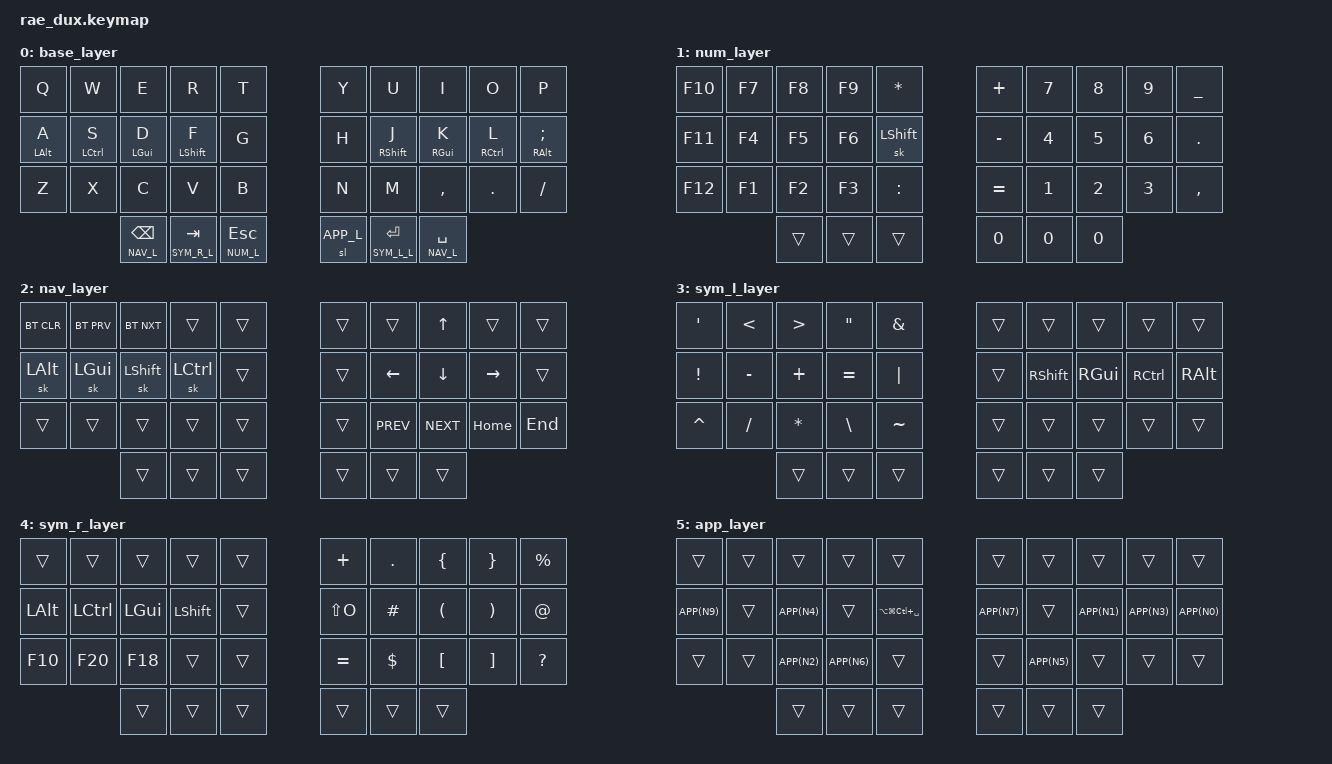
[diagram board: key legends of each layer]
/*
 * Copyright (c) 2021 The ZMK Contributors
 *
 * SPDX-License-Identifier: MIT
 */

#include <behaviors.dtsi>
#include <dt-bindings/zmk/bt.h>
#include <dt-bindings/zmk/keys.h>

&sk {
    quick-release;
};

&caps_word {
    continue-list = <UNDERSCORE MINUS BSPC SEMI>;
};

#define BASE_L  0
#define NUM_L   1
#define NAV_L   2
#define SYM_L_L 3
#define SYM_R_L 4
#define APP_L   5

/ {
    macros {
    };

    behaviors {
        
        lhm: left_hand_positional_hold_tap {
            compatible = "zmk,behavior-hold-tap";
            label = "LEFT_POSITIONAL_HOLD_TAP";
            #binding-cells = <2>;
            flavor = "tap-preferred";
            tapping-term-ms = <200>;
            quick-tap-ms = <50>;
            require-prior-idle-ms = <20>;
            bindings = <&kp>, <&kp>;
            hold-trigger-on-release;
            hold-while-undecided;
            
            // The right half:
            hold-trigger-key-positions = <
                5   6  7  8  9 
                15 16 17 18 19 
                25 26 27 28 29 

                30 31 32 
                33 34 35
            >;
        };

        rhm: right_hand_positional_hold_tap {
            compatible = "zmk,behavior-hold-tap";
            label = "RIGHT_POSITIONAL_HOLD_TAP";
            #binding-cells = <2>;
            flavor = "tap-preferred";
            tapping-term-ms = <200>;
            quick-tap-ms = <50>;
            require-prior-idle-ms = <20>;
            bindings = <&kp>, <&kp>;
            hold-trigger-on-release;
            hold-while-undecided;
            
            // The left half:
            hold-trigger-key-positions = <
                 0  1  2  3  4 
                10 11 12 13 14 
                20 21 22 23 24 
                
                      30 31 32
                      33 34 35
            >;
        };

        base_lt: base_layer_hold_tap {
            compatible = "zmk,behavior-hold-tap";
            label = "BASE_LAYER_HOLD_TAP";
            #binding-cells = <2>;
            flavor = "tap-preferred";
            tapping-term-ms = <200>;
            quick-tap-ms = <200>;
            bindings = <&mo>, <&kp>;
        };

        rpt_lt: repeat_hold_tap {
            compatible = "zmk,behavior-hold-tap";
            label = "REPEAT_HOLD_TAP";
            #binding-cells = <2>;
            flavor = "tap-preferred";
            tapping-term-ms = <200>;
            quick-tap-ms = <200>;
            bindings = <&mo>, <&key_repeat>;
        };
    };

    combos {
        compatible = "zmk,combos";

        #define COMBO(NAME, BINDINGS, KEYPOS, TIMEOUT) \
              combo_##NAME { \
                timeout-ms = <TIMEOUT>; \
                layers = <BASE_L NUM_L SYM_L_L SYM_R_L>; \
                bindings = <BINDINGS>; \
                key-positions = <KEYPOS>; \
              };

        /*                KEY POSITIONS

          ╭────────────────────╮ ╭────────────────────╮
          │  0   1   2   3   4 │ │  5   6   7   8   9 │
          │ 10  11  12  13  14 │ │ 15  16  17  18  19 │
          │ 20  21  22  23  24 │ │ 25  26  27  28  29 │
          ╰───────╮ 30  31  32 │ │ 33  34  35 ╭───────╯
                  ╰────────────╯ ╰────────────╯        */

        COMBO(caps_word_left, &caps_word, 13 14, 60)
        COMBO(caps_word_right, &caps_word, 15 16, 60)

        COMBO(grave, &kp GRAVE, 1 2, 60)
        COMBO(pipe, &kp PIPE, 3 4, 60)

        COMBO(amp, &kp AMPS, 5 6, 60)

        COMBO(lpar, &kp LPAR, 21 22, 60)
        COMBO(rpar, &kp RPAR, 27 28, 60)

        COMBO(dash, &kp MINUS, 22 23, 60)
        COMBO(under, &kp UNDERSCORE, 26 27, 60)

        COMBO(excl, &kp EXCL, 23 24, 60)
        COMBO(equal, &kp EQUAL, 25 26, 60)        
    };

    #define APP(n) LS(LA(LG(LC(n))))
    #define APP_ED APP(N1)
    #define APP_WEB APP(N2)
    #define APP_TERM APP(N3)
    #define APP_SLACK APP(N4)
    #define APP_MAIL APP(N5)
    #define APP_VC APP(N6)
    #define APP_IRC APP(N7)
    #define APP_MSG APP(N8)
    #define APP_CAL APP(N9)
    #define APP_NOTES APP(N0)
    #define APP_DASH LA(LG(LC(SPACE)))

	keymap {
		compatible = "zmk,keymap";

		base_layer {
			bindings =  <
            /**/ &kp Q       &kp W        &kp E               &kp R                 &kp T              /* &*/ &kp Y         &kp U                 &kp I                 &kp O        &kp P
            /**/ &lhm LALT A &lhm LCTRL S &lhm LGUI D         &lhm LSHFT F          &kp G              /* &*/ &kp H         &rhm RSHFT J          &rhm RGUI K           &rhm RCTRL L &rhm RALT SEMI
            /**/ &kp Z       &kp X        &kp C               &kp V                 &kp B              /* &*/ &kp N         &kp M                 &kp COMMA             &kp DOT      &kp FSLH
            /*   &           &*/          &base_lt NAV_L BKSP &base_lt SYM_R_L TAB  &base_lt NUM_L ESC /* &*/ &sl APP_L     &base_lt SYM_L_L RET  &base_lt NAV_L SPC /* &            &*/
			>;
		};

		num_layer {
			bindings = <
            /**/ &kp F10     &kp F7       &kp F8              &kp F9                &kp STAR           /* & */ &kp PLUS     &kp N7                &kp N8                &kp N9       &kp UNDER
            /**/ &kp F11     &kp F4       &kp F5              &kp F6                &sk LSHFT          /* & */ &kp MINUS    &kp N4                &kp N5                &kp N6       &kp DOT 
            /**/ &kp F12     &kp F1       &kp F2              &kp F3                &kp COLON          /* & */ &kp EQUAL    &kp N1                &kp N2                &kp N3       &kp COMMA
			/*   &           &*/          &trans              &trans                &trans             /* & */ &kp N0       &kp N0                &kp N0             /* &            &*/
			>;
		};

		nav_layer {
			bindings = <
            /**/ &bt BT_CLR  &bt BT_PRV   &bt BT_NXT          &trans                &trans             /* & */ &trans      &trans                 &kp UP                &trans       &trans
            /**/ &sk LALT    &sk LGUI     &sk LSHFT           &sk LCTRL             &trans             /* & */ &trans      &kp LEFT               &kp DOWN              &kp RIGHT    &trans
            /**/ &trans      &trans       &trans              &trans                &trans             /* & */ &trans      &kp K_PREV             &kp K_NEXT            &kp HOME     &kp END
			/*   &           & */         &trans              &trans                &trans             /* & */ &trans      &trans                 &trans             /* &            & */
			>;
		};

        sym_l_layer {
            bindings = <
            /**/ &kp APOS    &kp LT       &kp GT              &kp DQT               &kp AMPS           /* & */ &trans      &trans                 &trans                &trans       &trans
            /**/ &kp EXCL    &kp MINUS    &kp PLUS            &kp EQUAL             &kp PIPE           /* & */ &trans      &kp RSHFT              &kp RGUI              &kp RCTRL    &kp RALT 
            /**/ &kp CARET   &kp FSLH     &kp STAR            &kp BSLH              &kp TILDE          /* & */ &trans      &trans                 &trans                &trans       &trans
			/*   &           & */         &trans              &trans                &trans             /* & */ &trans      &trans                 &trans             /* &            & */
			>;
        };

        sym_r_layer {
            bindings = <
            /**/ &trans      &trans       &trans              &trans                &trans             /* & */ &kp PLUS    &kp DOT                &kp LBRC              &kp RBRC     &kp PRCNT
            /**/ &kp LALT    &kp LCTRL    &kp LGUI            &kp LSHFT             &trans             /* & */ &kp LS(O)   &kp HASH               &kp LPAR              &kp RPAR     &kp AT
            /**/ &kp F10     &kp F20      &kp F18              &trans                &trans             /* & */ &kp EQUAL   &kp DLLR               &kp LBKT              &kp RBKT     &kp QMARK
			/*   &           &*/          &trans              &trans                &trans             /* & */ &trans      &trans                 &trans             /* &            & */
			>;
        };

        app_layer {
			bindings = <
            /**/ &trans      &trans       &trans              &trans                &trans             /* & */ &trans      &trans                 &trans                &trans        &trans
            /**/ &kp APP_CAL &trans       &kp APP_SLACK       &trans                &kp APP_DASH       /* & */ &kp APP_IRC &trans                 &kp APP_ED            &kp APP_TERM  &kp APP_NOTES
            /**/ &trans      &trans       &kp APP_WEB         &kp APP_VC            &trans             /* & */ &trans      &kp APP_MAIL           &trans                &trans        &trans
			/*   &           &*/          &trans              &trans                &trans             /* & */ &trans      &trans                 &trans             /* &             &*/
			>;
		};

	};
};
